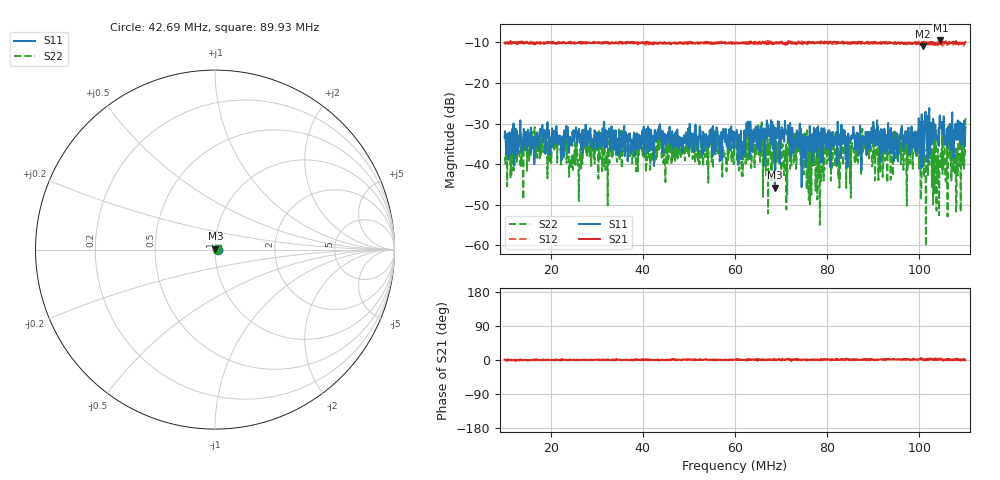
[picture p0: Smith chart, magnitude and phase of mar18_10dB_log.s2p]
! Anritsu VNA Master:  Model: MS2036C/10/77
! SN:  1601066
! /card0/usr/mar18_10dB_log.s2p
! Existing Calibration Information:
! TYPE:  Current Settings,  Active Cal Settings
! TIME:  03/18/2016 01:40:05 PM,  03/18/2016 01:23:09 PM
! INTERNAL TEMP:  47.8 C,  46.8 C
! # POINTS:  1087,  1087
! START FREQ:  10.000 MHz,  5.000 kHz
! STOP FREQ:  110.000 MHz,  6.000 GHz
! SOURCE POWER:  Low,  Low
! IFBW:  1 kHz,  1 kHz
! AVG FACTOR:  1 ,  1
! REF PLANE 1:  -6.095 mm,  -6.095 mm
! REF PLANE 2:  0 mm,  0 mm
! CAL TYPE:  Full 2 Port,  Full 2 Port
! CAL METHOD:  SOLT,  SOLT
! CAL LINE TYPE:  Coax,  Coax
! DUT PORT 1:  K-Conn(M),  K-Conn(M)
! DUT PORT 2:  N-Conn(M),  N-Conn(M)
! CAL STATUS:  OK: Accuracy High,  --
# GHZ S DB R 50.0
! FREQ.GHZ  S11DB  S11A  S21DB  S21A  S12DB  S12A  S22DB  S22A
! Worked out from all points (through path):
!   1087 points, 10 MHz to 110 MHz, reference 50 ohm
!   highest |S21| = -9.51 dB at 104.6 MHz (marker M1); lowest = -11.0 dB at 100.8 MHz (marker M2)
!   lowest |S11| = -45.8 dB at 68.66 MHz (marker M3), VSWR 1.01, Z = 50.2 + j0.455 ohm
!   |S11| at or under -10 dB: start of sweep to end of sweep
!   |S22| runs from -60.3 to -28.5 dB; largest |S21 - S12| = 0.039
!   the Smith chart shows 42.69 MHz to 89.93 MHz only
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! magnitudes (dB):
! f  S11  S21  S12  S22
! 10 MHz  -33.6  -10.2  -9.9  -38.3
! 16.17 MHz  -36.0  -10.4  -10.2  -36.5
! 26.67 MHz  -36.4  -10.3  -10.1  -37.3
! 43.43 MHz  -32.3  -10.2  -10.4  -36.5
! 44.53 MHz  -33.9  -10.1  -10.3  -39.5
! 60 MHz  -33.5  -10.2  -10.0  -32.3
! 68.66 MHz  -45.8  -10.2  -10.1  -38.1
! 70.87 MHz  -29.3  -10.2  -10.3  -36.4
! 73.81 MHz  -33.2  -10.0  -10.2  -34.0
! 74.92 MHz  -36.5  -10.0  -10.1  -42.6
! 76.67 MHz  -33.2  -10.1  -10.1  -36.1
! 87.99 MHz  -34.6  -10.3  -10.3  -33.8
! 93.43 MHz  -34.2  -10.0  -10.0  -35.8
! 99.41 MHz  -37.4  -10.2  -10.0  -38.1
! 100.8 MHz  -36.1  -11.0  -10.1  -33.6
! 102.2 MHz  -26.2  -10.5  -9.8  -40.2
! 104.1 MHz  -35.2  -10.5  -10.4  -43.0
! 104.6 MHz  -31.1  -9.5  -9.9  -38.0
! 106.7 MHz  -32.7  -10.0  -10.1  -32.6
! 107.9 MHz  -30.0  -10.3  -10.0  -36.1
! 109.4 MHz  -34.0  -10.0  -10.1  -40.2
! 110 MHz  -30.8  -9.9  -10.2  -28.5
